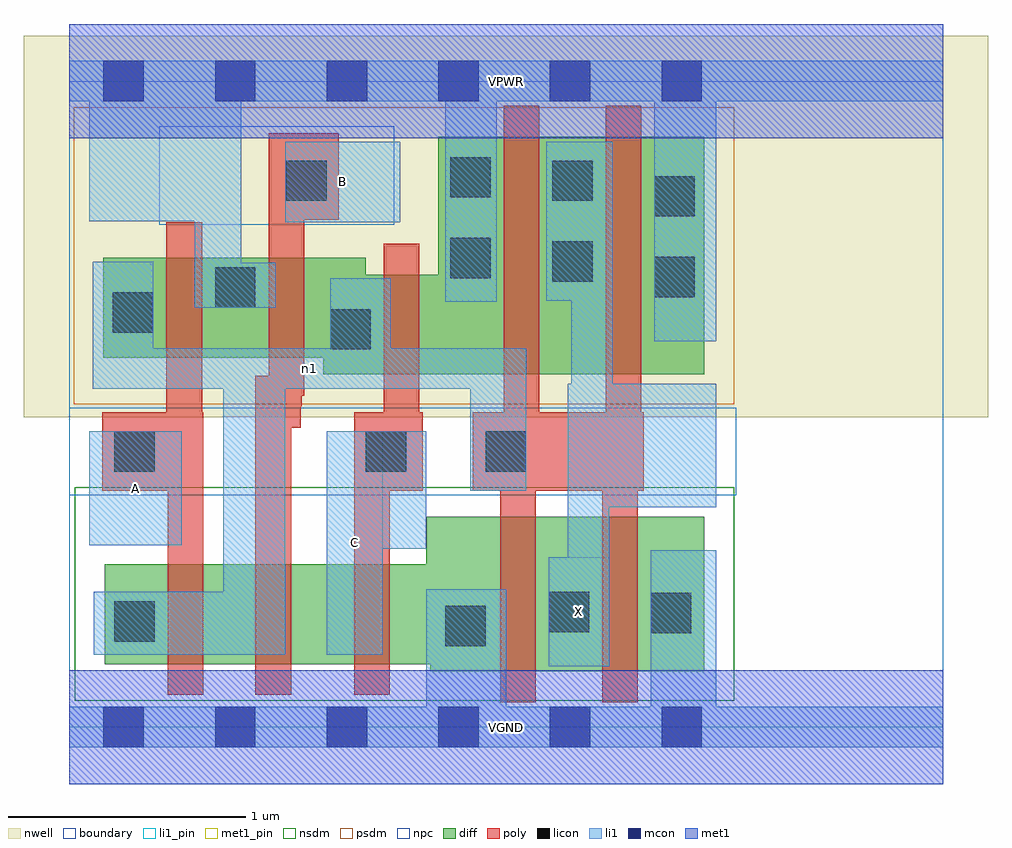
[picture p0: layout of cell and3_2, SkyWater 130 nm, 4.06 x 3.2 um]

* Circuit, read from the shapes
.subckt and3_2 A B C VGND VPWR X n1
XM1 n2 A n1 VSUBS sky130_fd_pr__nfet_01v8 w=0.42 l=0.15
XM2 n3 B n2 VSUBS sky130_fd_pr__nfet_01v8 w=0.42 l=0.15
XM3 VGND C n3 VSUBS sky130_fd_pr__nfet_01v8 w=0.42 l=0.15
XM4 X n1 VGND VSUBS sky130_fd_pr__nfet_01v8 w=0.65 l=0.15 m=2
XM5 VPWR A n1 n4 sky130_fd_pr__pfet_01v8 w=0.42 l=0.15
XM6 n1 B VPWR n4 sky130_fd_pr__pfet_01v8 w=0.42 l=0.15
XM7 VPWR C n1 n4 sky130_fd_pr__pfet_01v8 w=0.42 l=0.15
XM8 X n1 VPWR n4 sky130_fd_pr__pfet_01v8 w=1 l=0.15 m=2
.ends

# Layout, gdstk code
import gdstk
lib = gdstk.Library(unit=1e-6, precision=1e-09)
def R(c, l, rs):  # rectangles x0, y0, x1, y1
    for r in rs: c.add(gdstk.rectangle(r[:2], r[2:], *l))
def A(c, l, x, y, w, h, nx, ny, dx, dy):  # array of equal rectangles
    R(c, l, [(x+i*dx, y+j*dy, x+i*dx+w, y+j*dy+h) for i in range(nx) for j in range(ny)])
nwell = (64, 20)
diff = (65, 20)
poly = (66, 20)
licon = (66, 44)
li1_pin = (67, 16)
li1 = (67, 20)
mcon = (67, 44)
met1_pin = (68, 16)
met1 = (68, 20)
nsdm = (93, 44)
psdm = (94, 20)
npc = (95, 20)
boundary = (235, 4)

and3_2 = lib.new_cell('and3_2')
R(and3_2, nwell, [(-0.19,1.305,3.87,2.91), (0,1.305,3.68,2.91)])
R(and3_2, diff, [(1.52,0.235,2.675,0.885), (0.15,0.265,2.675,0.685), (1.505,0.265,2.675,0.885), (1.07,1.485,2.675,1.905), (1.555,1.485,2.675,2.485), (0.145,1.555,1.25,1.975)])
R(and3_2, poly, [(1.815,0.105,1.965,1.325), (2.245,0.105,2.395,1.325), (0.415,0.135,0.565,1.325), (0.785,0.135,0.935,1.48), (1.2,0.135,1.35,1.325), (0.14,0.995,0.565,1.325), (0.41,0.995,0.56,2.125), (1.2,0.995,1.49,1.325), (1.35,0.995,1.475,2.035), (1.7,0.995,2.42,1.325), (1.83,0.995,1.98,2.615), (2.26,0.995,2.41,2.615), (0.785,1.26,0.975,1.48), (1.325,1.325,1.475,2.035), (0.84,1.35,0.98,2.5), (0.84,1.395,0.99,2.5), (0.84,2.135,1.135,2.5)])
R(and3_2, licon, [(1.585,0.34,1.755,0.51), (0.19,0.36,0.36,0.53), (2.45,0.395,2.62,0.565), (2.02,0.4,2.19,0.57), (0.19,1.075,0.36,1.245), (1.25,1.075,1.42,1.245), (1.755,1.075,1.925,1.245), (1.1,1.59,1.27,1.76), (0.185,1.66,0.355,1.83), (0.615,1.765,0.785,1.935), (2.465,1.81,2.635,1.98), (2.035,1.875,2.205,2.045), (1.605,1.89,1.775,2.06), (2.465,2.15,2.635,2.32), (0.915,2.215,1.085,2.385), (2.035,2.215,2.205,2.385), (1.605,2.23,1.775,2.4)])
R(and3_2, li1_pin, [(2.02,0.255,2.275,0.715), (1.085,0.305,1.32,1.245), (0.085,0.765,0.475,1.245), (0.91,2.125,1.395,2.465)])
R(and3_2, li1, [(0,-0.085,3.68,0.085), (1.505,-0.085,1.84,0.58), (2.45,-0.085,2.725,0.745), (2.02,0.255,2.275,0.715), (2.1,0.255,2.275,1.445), (0.105,0.305,0.91,0.57), (0.65,0.305,0.91,1.595), (1.085,0.305,1.32,1.245), (1.085,0.75,1.505,1.245), (0.085,0.765,0.475,1.245), (2.1,0.925,2.725,1.445), (2.115,0.925,2.29,2.465), (1.69,0.995,1.925,1.595), (0.1,1.425,1.925,1.595), (0.1,1.425,0.355,1.96), (1.1,1.425,1.355,1.89), (2.465,1.625,2.725,2.805), (0.53,1.765,0.725,2.805), (0.53,1.765,0.87,1.955), (1.585,1.79,1.8,2.805), (2.01,1.795,2.29,2.465), (0.91,2.125,1.395,2.465), (0.085,2.13,0.725,2.635), (0,2.635,3.68,2.805)])
A(and3_2, mcon, 0.145, -0.085, 0.17, 0.17, 6, 2, 0.47, 2.72)
R(and3_2, met1_pin, [(0,-0.24,3.68,0.24), (0,2.48,3.68,2.96)])
R(and3_2, met1, [(0,-0.24,3.68,0.24), (0,2.48,3.68,2.96)])
R(and3_2, nsdm, [(0.025,0.11,2.8,1.01)])
R(and3_2, psdm, [(0.02,1.36,2.8,2.61)])
R(and3_2, npc, [(0,0.975,2.81,1.345), (0.38,2.115,1.37,2.53)])
R(and3_2, boundary, [(0,0,3.68,2.72)])
and3_2.add(gdstk.Label('A', (0.28,1.005), layer=67, texttype=5))
and3_2.add(gdstk.Label('B', (1.152,2.295), layer=67, texttype=5))
and3_2.add(gdstk.Label('C', (1.202,0.775), layer=67, texttype=5))
and3_2.add(gdstk.Label('X', (2.147,0.485), layer=67, texttype=5))
and3_2.add(gdstk.Label('n1', (1.012,1.51), layer=67, texttype=5))
and3_2.add(gdstk.Label('VPWR', (1.84,2.72), layer=68, texttype=5))
and3_2.add(gdstk.Label('VGND', (1.84,0), layer=68, texttype=5))
and3_2.add(gdstk.Label('A', (0.28,1.005), layer=67, texttype=16))
and3_2.add(gdstk.Label('B', (1.152,2.295), layer=67, texttype=16))
and3_2.add(gdstk.Label('C', (1.202,0.775), layer=67, texttype=16))
and3_2.add(gdstk.Label('X', (2.147,0.485), layer=67, texttype=16))
and3_2.add(gdstk.Label('VPWR', (1.84,2.72), layer=68, texttype=16))
and3_2.add(gdstk.Label('VGND', (1.84,0), layer=68, texttype=16))

lib.write_gds('and3_2.gds')
